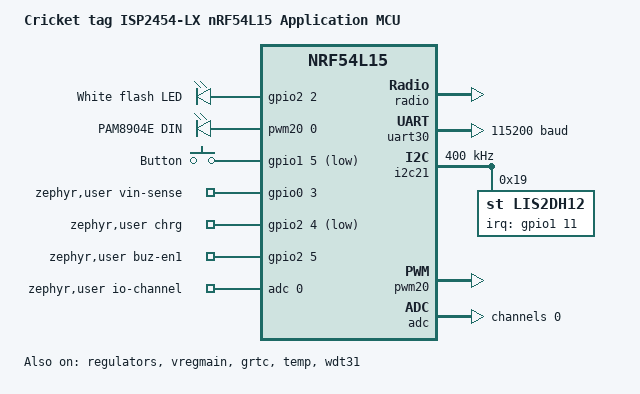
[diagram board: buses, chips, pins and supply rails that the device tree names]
/*
 * SPDX-License-Identifier: MIT
 *
 * Cricket tag, revision A: Insight SiP ISP2454-LX (nRF54L15, both crystals,
 * DC/DC inside). Pin map: hardware/cricket-tag/README.md (D-29).
 */

/dts-v1/;

#include <nordic/nrf54l15_cpuapp.dtsi>
#include "cricket_tag_nrf54l15_cpuapp-pinctrl.dtsi"
#include <zephyr/dt-bindings/input/input-event-codes.h>

/ {
	compatible = "cricket,cricket_tag-nrf54l15-cpuapp";
	model = "Cricket tag ISP2454-LX nRF54L15 Application MCU";

	chosen {
		zephyr,flash-controller = &rram_controller;
		zephyr,flash = &cpuapp_rram;
		zephyr,code-partition = &slot0_partition;
		zephyr,sram = &cpuapp_sram;
	};

	leds {
		compatible = "gpio-leds";

		/* White LED from VBAT, 2N7002 gate on P2.02 (R9 pull-down) */
		flash_led: led_0 {
			gpios = <&gpio2 2 GPIO_ACTIVE_HIGH>;
			label = "White flash LED";
		};
	};

	pwmbuzzer {
		compatible = "pwm-leds";

		buzzer_pwm: buzzer {
			pwms = <&pwm20 0 PWM_HZ(4000) PWM_POLARITY_NORMAL>;
			label = "PAM8904E DIN";
		};
	};

	buttons {
		compatible = "gpio-keys";

		user_button: button_0 {
			gpios = <&gpio1 5 (GPIO_PULL_UP | GPIO_ACTIVE_LOW)>;
			label = "Button";
			zephyr,code = <INPUT_KEY_0>;
		};
	};

	zephyr,user {
		/* VBAT through R4/R5 1 MOhm + 1 MOhm on AIN3 */
		io-channels = <&adc 0>;
		vbat-full-ohms = <2000000>;
		vbat-output-ohms = <1000000>;
		/* 5 V present: R1 1 MOhm / R2 1.5 MOhm divider, wakes from System OFF (D-23) */
		vin-sense-gpios = <&gpio0 3 GPIO_ACTIVE_HIGH>;
		/* TP4054 open drain, low while charging. P2: no interrupts, poll it. */
		chrg-gpios = <&gpio2 4 (GPIO_PULL_UP | GPIO_ACTIVE_LOW)>;
		/* PAM8904E EN1: 0 = 1x, 1 = 3x (EN2 tied to VBAT, D-28) */
		buz-en1-gpios = <&gpio2 5 GPIO_ACTIVE_HIGH>;
	};

	aliases {
		led0 = &flash_led;
		sw0 = &user_button;
		flash-led = &flash_led;
		buzzer-pwm = &buzzer_pwm;
		user-button = &user_button;
		accel0 = &lis2dh12;
		msp-uart = &uart30;
		watchdog0 = &wdt31;
		mcuboot-button0 = &user_button;
		mcuboot-led0 = &flash_led;
	};
};

&cpuapp_sram {
	status = "okay";
};

/*
 * 32.768 kHz crystal inside the module. ISP2454 datasheet R7, section 2.5,
 * recommends 19 pF internal load, but the nRF54L SoC code accepts at most
 * 18 pF (soc.c BUILD_ASSERT): use the maximum. Check the drift on hardware.
 */
&lfxo {
	load-capacitors = "internal";
	load-capacitance-femtofarad = <18000>;
};

/* 32 MHz crystal inside the module; the datasheet gives no value, Nordic DK default. */
&hfxo {
	load-capacitors = "internal";
	load-capacitance-femtofarad = <15000>;
};

&regulators {
	status = "okay";
};

/* DC/DC components are inside the module; datasheet currents are with DC/DC on. */
&vregmain {
	status = "okay";
	regulator-initial-mode = <NRF5X_REG_MODE_DCDC>;
};

&grtc {
	owned-channels = <0 1 2 3 4 5 6 7 8 9 10 11>;
	/* Channels 7-11 reserved for Zero Latency IRQs, 3-4 for FLPR */
	child-owned-channels = <3 4 7 8 9 10 11>;
	status = "okay";
};

&clock {
	status = "okay";
};

&radio {
	status = "okay";
};

&temp {
	status = "okay";
};

/*
 * Edge interrupts through the GPIO SENSE mechanism instead of GPIOTE event
 * channels, which cost current while waiting: VIN_SENSE (P0.03), button
 * (P1.05), LIS2DH12 INT1 (P1.11).
 */
&gpio0 {
	status = "okay";
	sense-edge-mask = <(BIT(3))>;
};

&gpio1 {
	status = "okay";
	sense-edge-mask = <(BIT(5) | BIT(11))>;
};

&gpio2 {
	status = "okay";
};

&gpiote20 {
	status = "okay";
};

&gpiote30 {
	status = "okay";
};

/* NFC pads are I2C here (board.c clears NFCT.PADCONFIG). */
&nfct {
	status = "disabled";
};

&uart30 {
	status = "okay";
	current-speed = <115200>;
	pinctrl-0 = <&uart30_default>;
	pinctrl-1 = <&uart30_sleep>;
	pinctrl-names = "default", "sleep";
};

&i2c21 {
	status = "okay";
	clock-frequency = <I2C_BITRATE_FAST>;
	pinctrl-0 = <&i2c21_default>;
	pinctrl-1 = <&i2c21_sleep>;
	pinctrl-names = "default", "sleep";

	/* SA0 on VDD_IO: address 0x19. INT1 on P1.11 (wake source), INT2 not connected. */
	lis2dh12: lis2dh12@19 {
		compatible = "st,lis2dh12", "st,lis2dh";
		reg = <0x19>;
		irq-gpios = <&gpio1 11 GPIO_ACTIVE_HIGH>;
		anym-on-int1; /* only INT1 is wired */
	};
};

&pwm20 {
	status = "okay";
	pinctrl-0 = <&pwm20_default>;
	pinctrl-1 = <&pwm20_sleep>;
	pinctrl-names = "default", "sleep";
};

&adc {
	status = "okay";
	#address-cells = <1>;
	#size-cells = <0>;

	/*
	 * VBAT/2 <= 2.1 V. Gain 1/4 with the 0.9 V reference gives 3.6 V full scale.
	 * The divider is 500 kOhm with 100 nF (C3) on the pin: long acquisition.
	 */
	channel@0 {
		reg = <0>;
		zephyr,gain = "ADC_GAIN_1_4";
		zephyr,reference = "ADC_REF_INTERNAL";
		zephyr,acquisition-time = <ADC_ACQ_TIME(ADC_ACQ_TIME_MICROSECONDS, 40)>;
		zephyr,input-positive = <NRF_SAADC_AIN3>; /* P1.07 */
		zephyr,resolution = <12>;
		zephyr,oversampling = <4>;
	};
};

&wdt31 {
	status = "okay";
};

#include <vendor/nordic/nrf54l15_cpuapp_partition.dtsi>
